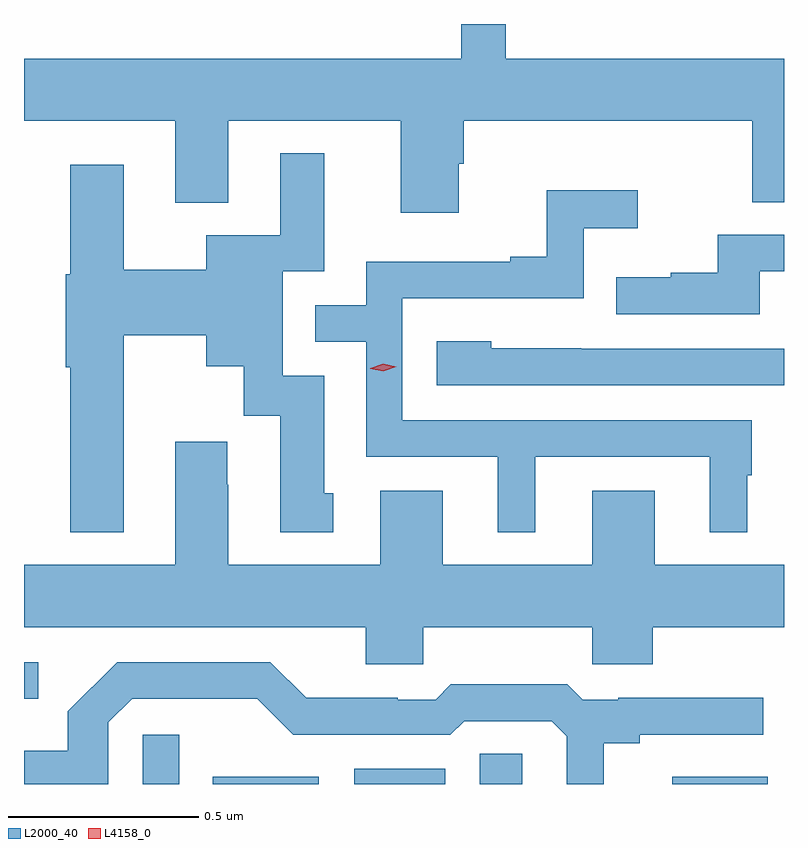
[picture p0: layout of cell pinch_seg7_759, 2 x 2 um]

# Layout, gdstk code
import gdstk
lib = gdstk.Library(unit=1e-6, precision=1e-09)
def R(c, l, rs):  # rectangles x0, y0, x1, y1
    for r in rs: c.add(gdstk.rectangle(r[:2], r[2:], *l))
def P(c, l, *ps):  # polygons
    for p in ps: c.add(gdstk.Polygon(p, *l))
L2000_40 = (2000, 40)
L4158_0 = (4158, 0)

pinch_seg7_759 = lib.new_cell('pinch_seg7_759')
R(pinch_seg7_759, L2000_40, [(285.723,1030.839,285.819,1030.969), (285.908,1030.839,286.186,1030.858), (286.28,1030.839,286.519,1030.879), (286.61,1030.839,286.722,1030.919), (287.117,1030.839,287.368,1030.858), (285.411,1031.063,285.448,1031.16)])
P(pinch_seg7_759, L2000_40, [(285.411,1032.584),(285.809,1032.584),(285.809,1032.368),(285.949,1032.368),(285.949,1032.584),(286.403,1032.584),(286.403,1032.342),(286.555,1032.342),(286.555,1032.471),(286.568,1032.471),(286.568,1032.584),(287.328,1032.584),(287.328,1032.37),(287.411,1032.37),(287.411,1032.748),(286.679,1032.748),(286.679,1032.839),(286.562,1032.839),(286.562,1032.748),(285.411,1032.748)],
  [(285.673,1032.02),(285.89,1032.02),(285.89,1031.939),(285.989,1031.939),(285.989,1031.808),(286.085,1031.808),(286.085,1031.502),(286.225,1031.502),(286.225,1031.604),(286.201,1031.604),(286.201,1031.913),(286.092,1031.913),(286.092,1032.189),(286.201,1032.189),(286.201,1032.499),(286.085,1032.499),(286.085,1032.283),(285.89,1032.283),(285.89,1032.192),(285.673,1032.192),(285.673,1032.469),(285.533,1032.469),(285.533,1032.18),(285.521,1032.18),(285.521,1031.936),(285.533,1031.936),(285.533,1031.501),(285.673,1031.501)],
  [(286.756,1031.7),(287.216,1031.7),(287.216,1031.501),(287.314,1031.501),(287.314,1031.652),(287.326,1031.652),(287.326,1031.796),(286.407,1031.796),(286.407,1032.117),(286.884,1032.117),(286.884,1032.302),(287.026,1032.302),(287.026,1032.401),(286.786,1032.401),(286.786,1032.226),(286.691,1032.226),(286.691,1032.213),(286.311,1032.213),(286.311,1032.099),(286.178,1032.099),(286.178,1032.003),(286.311,1032.003),(286.311,1031.7),(286.658,1031.7),(286.658,1031.501),(286.756,1031.501)],
  [(287.347,1032.188),(287.411,1032.188),(287.411,1032.285),(287.237,1032.285),(287.237,1032.184),(287.113,1032.184),(287.113,1032.172),(286.969,1032.172),(286.969,1032.075),(287.347,1032.075)],
  [(287.411,1031.985),(286.877,1031.985),(286.877,1031.986),(286.641,1031.986),(286.641,1032.004),(286.497,1032.004),(286.497,1031.889),(287.411,1031.889)],
  [(286.513,1031.611),(286.349,1031.611),(286.349,1031.416),(285.949,1031.416),(285.949,1031.627),(285.946,1031.627),(285.946,1031.74),(285.809,1031.74),(285.809,1031.416),(285.411,1031.416),(285.411,1031.252),(286.31,1031.252),(286.31,1031.154),(286.461,1031.154),(286.461,1031.252),(286.906,1031.252),(286.906,1031.154),(287.066,1031.154),(287.066,1031.252),(287.411,1031.252),(287.411,1031.416),(287.071,1031.416),(287.071,1031.611),(286.907,1031.611),(286.907,1031.416),(286.513,1031.416)],
  [(285.633,1031.001),(285.696,1031.064),(285.92,1031.064),(285.92,1031.063),(286.025,1031.063),(286.119,1030.968),(286.533,1030.968),(286.569,1031.004),(286.8,1031.004),(286.839,1030.965),(286.839,1030.839),(286.937,1030.839),(286.937,1030.946),(287.032,1030.946),(287.032,1030.968),(287.356,1030.968),(287.356,1031.066),(286.975,1031.066),(286.975,1031.061),(286.881,1031.061),(286.841,1031.101),(286.534,1031.101),(286.494,1031.061),(286.394,1031.061),(286.394,1031.066),(286.154,1031.066),(286.059,1031.16),(285.656,1031.16),(285.526,1031.03),(285.526,1030.927),(285.411,1030.927),(285.411,1030.839),(285.633,1030.839)])
P(pinch_seg7_759, L4158_0, [(286.357,1031.925),(286.322,1031.932),(286.322,1031.932),(286.322,1031.933),(286.356,1031.945),(286.391,1031.937),(286.391,1031.937),(286.391,1031.937)])

lib.write_gds('pinch_seg7_759.gds')
